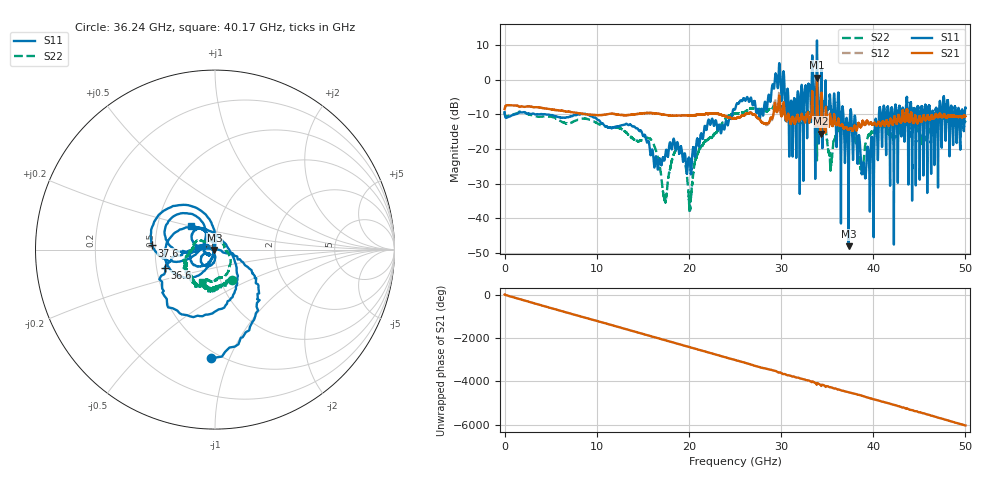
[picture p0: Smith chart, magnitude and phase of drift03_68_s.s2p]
!Created with skrf (http://scikit-rf.org).
# Hz S RI R 50.0
!freq ReS11 ImS11 ReS21 ImS21 ReS12 ImS12 ReS22 ImS22
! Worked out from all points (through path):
!   10001 points, 300 kHz to 50 GHz, reference 50 ohm
!   highest |S21| = 0.67 dB at 33.9 GHz (marker M1); lowest = -15.5 dB at 34.32 GHz (marker M2)
!   group delay of S21, straight-line fit = 335 ps
!   lowest |S11| = -48.1 dB at 37.33 GHz (marker M3), VSWR 1.01, Z = 49.7 - j0.255 ohm
!   |S11| at or under -10 dB: 4.472 GHz to 8.194 GHz (3.722 GHz wide, 58.8 % of centre); 9.019 GHz to 24.7 GHz (15.68 GHz wide, 93 % of centre); 37.62 GHz to 40.62 GHz (2.998 GHz wide, 7.66 % of centre) (the widest 3 of 56)
!   |S22| runs from -38.5 to -5.9 dB; largest |S21 - S12| = 0.11
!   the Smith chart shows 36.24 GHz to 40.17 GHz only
!   S11 on the Smith chart (normalised r, x): 36.24 GHz: 0.44, -0.86; 36.6 GHz: 0.55, -0.12; 37.6 GHz: 0.48, +0.03; 40.17 GHz: 0.74, +0.20
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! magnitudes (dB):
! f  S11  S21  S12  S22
! 300 kHz  -9.4  -8.5  -8.5  -9.3
! 8.335 GHz  -9.8  -9.8  -9.8  -11.3
! 16.67 GHz  -25.4  -9.8  -9.8  -23.1
! 17.4 GHz  -22.4  -10.1  -10.1  -35.1
! 19.1 GHz  -19.5  -10.3  -10.3  -20.2
! 20.13 GHz  -24.7  -10.3  -10.3  -37.0
! 21.19 GHz  -17.9  -10.1  -10.1  -19.7
! 25 GHz  -8.6  -11.1  -11.1  -9.9
! 29.66 GHz  -2.3  -8.3  -8.4  -7.2
! 31.08 GHz  -6.1  -12.7  -12.7  -10.5
! 33.34 GHz  0.4  -7.5  -7.5  -9.4
! 33.9 GHz  11.4  0.7  0.2  -23.3
! 34.32 GHz  -2.9  -15.5  -14.9  -11.2
! 35.34 GHz  -5.7  -10.4  -9.9  -25.0
! 36.24 GHz  -4.3  -11.7  -11.7  -14.2
! 36.6 GHz  -10.5  -13.1  -13.0  -13.4
! 37.33 GHz  -48.1  -14.4  -14.5  -13.5
! 37.6 GHz  -9.1  -13.9  -13.9  -14.3
! 38.71 GHz  -25.6  -13.4  -13.3  -25.7
! 40.17 GHz  -14.5  -12.5  -12.5  -14.3
! 41.67 GHz  -9.5  -13.3  -13.2  -14.9
! 50 GHz  -8.1  -10.5  -10.6  -12.2
